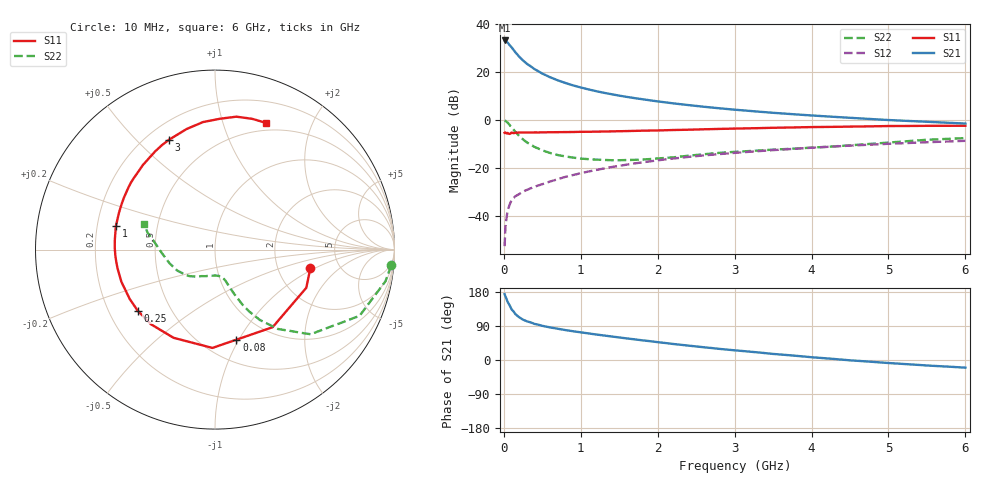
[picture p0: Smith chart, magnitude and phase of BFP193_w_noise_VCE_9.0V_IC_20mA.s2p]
! Infineon Technologies  Discrete & RF Semiconductors
! BFP193
! VCE =  9.0 V,  IC =  20 mA
! Common Emitter S-Parameters:  Jan 2017
# GHz  S  MA  R  50
!  f  S11  S21  S12  S22
! GHz  MAG  ANG  MAG  ANG  MAG  ANG  MAG  ANG
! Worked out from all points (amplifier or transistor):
!   77 points, 10 MHz to 6 GHz, reference 50 ohm
!   highest |S21| = 33.3 dB at 10 MHz (marker M1)
!   |S21| within 3 dB of that: start of sweep to 103.7 MHz
!   unconditionally stable (mu >= 1): 897.2 MHz to 2.5 GHz
!   at 130 MHz: K = 0.36, MSG = 30.9 dB, |S12| = -32.5 dB
!   at 2.2 GHz: K = 1.02, MAG = 10.8 dB, |S12| = -16.1 dB
!   at 6 GHz: K = 0.89, MSG = 3.6 dB, |S12| = -8.7 dB
!   lowest NFmin = 1.05 dB at 450 MHz
!   S11 on the Smith chart (normalised r, x): 10 MHz: 3.06, -0.91; 80 MHz: 0.71, -0.98; 250 MHz: 0.32, -0.31; 1 GHz: 0.28, +0.11; 3 GHz: 0.29, +0.63; 6 GHz: 0.42, +1.40
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0.01  0.5412 -11.2  46.29 173.8  0.0023 78.3  0.9857 -5.1
0.02  0.5514 -22.7  46.05 168.4  0.0056 88.0  0.9662 -10.5
0.05  0.5385 -53.4  41.7 152.9  0.0126 69.5  0.8861 -24.6
0.08  0.5158 -76.6  36.18 142.4  0.0177 62.2  0.773 -33.8
0.1  0.5481 -91.5  33.36 133.7  0.0212 59.3  0.7116 -41.5
0.15  0.543 -115.2  26.19 121.1  0.0255 53.1  0.5657 -51.5
0.2  0.5481 -130.7  21.22 112.7  0.0283 52.2  0.4646 -57.5
0.25  0.5488 -141.8  17.65 106.4  0.032 50.4  0.3932 -61.1
0.3  0.5491 -149.9  15.02 102.1  0.0346 51.4  0.3404 -63.6
0.4  0.5515 -161.0  11.6 95.2  0.0403 53.7  0.2734 -66.4
0.5  0.5533 -169.4  9.382 90.2  0.0455 55.8  0.2324 -68.3
0.6  0.556 -175.7  7.897 86.0  0.0517 56.7  0.205 -69.9
0.7  0.5584 179.3  6.79 82.5  0.0578 58.7  0.1856 -71.1
1  0.5678 166.7  4.808 73.0  0.0772 59.8  0.1561 -76.9
1.1  0.5687 163.1  4.382 70.2  0.0839 60.1  0.1522 -78.9
1.5  0.5841 150.3  3.242 59.5  0.1104 58.3  0.1445 -91.5
2.1  0.6123 133.1  2.347 44.8  0.15 53.6  0.1614 -113.5
3  0.6638 112.6  1.649 25.5  0.2058 44.4  0.2165 -139.7
3.1  0.6676 110.7  1.6 23.8  0.2115 43.3  0.2207 -142.2
4.1  0.7159 93.9  1.22 5.8  0.269 32.7  0.2703 -166.3
5.1  0.7507 79.6  0.985 -9.2  0.3234 21.6  0.3477 171.6
6  0.761 68.1  0.846 -20.2  0.3676 11.6  0.4201 160.2
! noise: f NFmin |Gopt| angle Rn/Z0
0.45  1.05  0.27  180  0.07
0.9  1.13  0.36  -178  0.07
1.9  1.76  0.56  -140  0.15
2.4  2.1  0.62  -124  0.34
